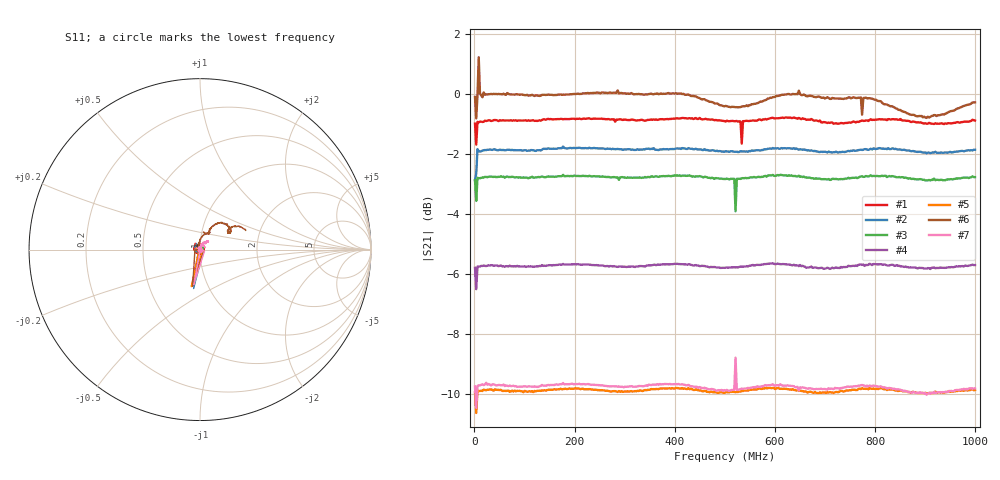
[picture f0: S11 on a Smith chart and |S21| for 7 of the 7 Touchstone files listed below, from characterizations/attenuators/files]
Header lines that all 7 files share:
# HZ S RI R 50
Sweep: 1 MHz to 1 GHz
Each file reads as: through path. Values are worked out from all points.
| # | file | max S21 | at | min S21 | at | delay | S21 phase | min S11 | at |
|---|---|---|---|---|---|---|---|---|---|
| 1 | nooelec_1dB_20260517.s2p | -0.78 dB | 623.2 MHz | -1.7 dB | 3.479 MHz | 110 ps | -20 deg at 501.7 MHz | -73.9 dB | 23.31 MHz |
| 2 | nooelec_2dB_20260517.s2p | -1.76 dB | 177 MHz | -2.9 dB | 1 MHz | 109 ps | -20 deg at 501.7 MHz | -73.2 dB | 362.9 MHz |
| 3 | nooelec_3dB_20260517.s2p | -2.70 dB | 177 MHz | -3.9 dB | 521.6 MHz | 108 ps | -20 deg at 501.7 MHz | -69.6 dB | 362.9 MHz |
| 4 | nooelec_6dB_20260517.s2p | -5.65 dB | 595.9 MHz | -6.5 dB | 3.479 MHz | 100 ps | -19 deg at 501.7 MHz | -59.5 dB | 809.1 MHz |
| 5 | nooelec_10dB_20260517.s2p | -9.81 dB | 402.6 MHz | -10.6 dB | 3.479 MHz | 97.7 ps | -18 deg at 501.7 MHz | -52.0 dB | 100.2 MHz |
| 6 | pad_pcb_0dB_20260517.s2p | 1.22 dB | 8.437 MHz | -0.8 dB | 3.479 MHz | 240 ps | -45 deg at 501.7 MHz | -52.6 dB | 18.35 MHz |
| 7 | pad_pcb_10dB_20260517.s2p | -8.80 dB | 521.6 MHz | -10.5 dB | 3.479 MHz | 235 ps | -43 deg at 501.7 MHz | -70.0 dB | 1 MHz |
